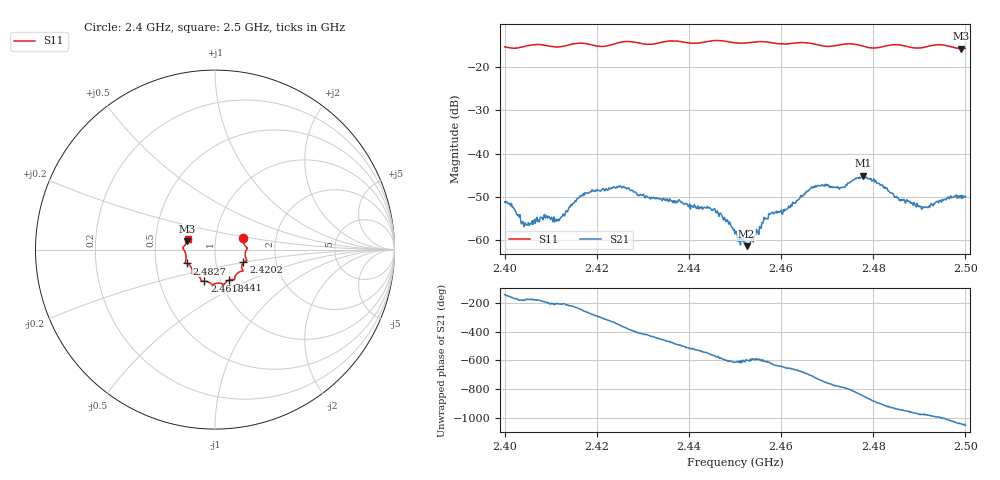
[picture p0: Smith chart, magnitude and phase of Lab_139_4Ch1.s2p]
# Hz S RI R 50
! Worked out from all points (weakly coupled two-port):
!   601 points, 2.4 GHz to 2.5 GHz, reference 50 ohm
!   highest |S21| = -45.09 dB at 2.4778 GHz (marker M1); lowest = -61.3 dB at 2.4525 GHz (marker M2)
!   lowest |S11| = -15.8 dB at 2.499 GHz (marker M3), VSWR 1.39, Z = 36.4 + j3.49 ohm
!   |S11| at or under -10 dB: start of sweep to end of sweep
!   S12 and S22 are empty: the file has one direction only
!   S11 on the Smith chart (normalised r, x): 2.4 GHz: 1.36, +0.18; 2.4202 GHz: 1.36, -0.20; 2.441 GHz: 1.10, -0.39; 2.4618 GHz: 0.84, -0.30; 2.4827 GHz: 0.72, -0.11; 2.5 GHz: 0.73, +0.09
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2.4e9  0.1582 0.063  -0.00214 -0.00177  0 0  0 0
2.405167e9  0.1755 0.0132  -0.00159 -0.000168  0 0  0 0
2.409e9  0.1762 0.00188  -0.00188 0.000448  0 0  0 0
2.411833e9  0.168 -0.0261  -0.00151 0.000758  0 0  0 0
2.416667e9  0.1774 -0.0608  -0.00137 0.00295  0 0  0 0
2.420167e9  0.1582 -0.0712  0.00155 0.00347  0 0  0 0
2.425333e9  0.1551 -0.115  0.00417 -7.51e-06  0 0  0 0
2.433333e9  0.1116 -0.151  0.000279 -0.00304  0 0  0 0
2.441e9  0.0785 -0.1696  -0.00229 -0.0007  0 0  0 0
2.445833e9  0.0504 -0.1951  -0.00176 0.00113  0 0  0 0
2.45e9  0.0284 -0.1871  -0.000327 0.00114  0 0  0 0
2.4525e9  0.00322 -0.1891  -0.000419 0.000747  0 0  0 0
2.457833e9  -0.0239 -0.1892  -0.000257 0.00205  0 0  0 0
2.461833e9  -0.0593 -0.1756  0.00108 0.00212  0 0  0 0
2.466667e9  -0.0786 -0.1684  0.00408 0.000734  0 0  0 0
2.473167e9  -0.1213 -0.1345  0.00151 -0.00376  0 0  0 0
2.477833e9  -0.1269 -0.1171  -0.00356 -0.00427  0 0  0 0
2.482667e9  -0.1562 -0.0772  -0.00374 0.00127  0 0  0 0
2.483333e9  -0.1606 -0.0754  -0.00344 0.00141  0 0  0 0
2.491e9  -0.1677 -0.0117  -0.000323 0.00241  0 0  0 0
2.499e9  -0.1552 0.0466  0.00264 0.00194  0 0  0 0
2.5e9  -0.1519 0.0608  0.00292 0.00133  0 0  0 0
